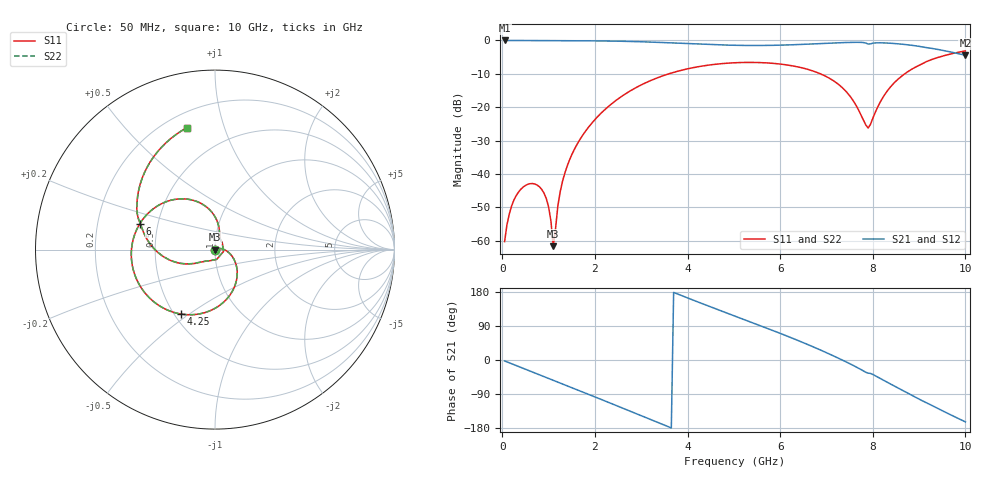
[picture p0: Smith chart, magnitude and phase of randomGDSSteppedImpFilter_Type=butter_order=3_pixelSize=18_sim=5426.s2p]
! freq	dB(S11)	phase(S11)	dB(S12)	phase(S12)
!  dB(S21)	phase(S21)	dB(S22)	phase(S22)
!S-par simulation data
#  GHz  S  DB  R 50
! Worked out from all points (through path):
!   200 points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, 50 MHz to 10 GHz, reference 50 ohm
!   highest |S21| = -0.01 dB at 50 MHz (marker M1); lowest = -4.4 dB at 10 GHz (marker M2)
!   group delay of S21, straight-line fit = 142 ps
!   lowest |S11| = -61.6 dB at 1.1 GHz (marker M3), VSWR 1.00, Z = 49.9 + j0.0373 ohm
!   |S11| at or under -10 dB: start of sweep to 3.595 GHz; 6.87 GHz to 8.689 GHz (1.819 GHz wide, 23.4 % of centre)
!   |S22| runs from -62.3 to -3.1 dB; largest |S21 - S12| = 0
!   S11 on the Smith chart (normalised r, x): 50 MHz: 1.00, -0.00; 4.25 GHz: 0.54, -0.46; 6 GHz: 0.39, +0.14; 10 GHz: 0.29, +0.75
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0.05  -60.22 -67.2  -0.01 -2.5  -0.01 -2.5  -60.25 -66.9
0.15  -52.05 -87.7  -0.01 -7.3  -0.01 -7.3  -52.06 -87.9
0.25  -47.81 -96.8  -0.02 -12.2  -0.02 -12.2  -47.81 -96.7
0.65  -42.85 -122.6  -0.04 -31.5  -0.04 -31.5  -42.85 -122.4
0.95  -47.35 -143.4  -0.05 -46.0  -0.05 -46.0  -47.36 -142.7
1.05  -54.03 -160.9  -0.06 -50.8  -0.06 -50.8  -54.12 -159.1
1.1  -61.59 153.3  -0.06 -53.3  -0.06 -53.3  -62.27 155.8
1.2  -49.56 46.2  -0.07 -58.1  -0.07 -58.1  -49.61 44.8
1.3  -42.21 33.6  -0.07 -63.0  -0.07 -63.0  -42.23 32.9
1.75  -28.09 6.5  -0.10 -85.0  -0.10 -85.0  -28.09 6.3
2.5  -17.50 -31.9  -0.22 -122.1  -0.22 -122.1  -17.50 -32.0
3.4  -10.92 -77.0  -0.59 -167.0  -0.59 -167.0  -10.92 -77.1
4.25  -7.82 -118.0  -1.10 151.9  -1.10 151.9  -7.82 -118.1
5.05  -6.66 -155.0  -1.46 114.7  -1.46 114.7  -6.66 -155.0
6  -7.07 161.1  -1.41 70.4  -1.41 70.4  -7.07 161.1
6.7  -9.10 126.6  -1.04 35.4  -1.04 35.4  -9.10 126.6
7.4  -14.93 89.2  -0.63 -3.5  -0.63 -3.5  -14.93 89.4
7.9  -26.22 -12.1  -1.07 -34.7  -1.07 -34.7  -26.35 -12.3
8.35  -14.47 -155.1  -0.81 -61.2  -0.81 -61.2  -14.47 -155.5
8.75  -9.41 179.4  -1.30 -87.1  -1.30 -87.1  -9.41 179.2
9.2  -6.09 151.5  -2.22 -115.2  -2.22 -115.2  -6.09 151.3
10  -3.14 103.1  -4.44 -163.3  -4.44 -163.3  -3.14 102.9
